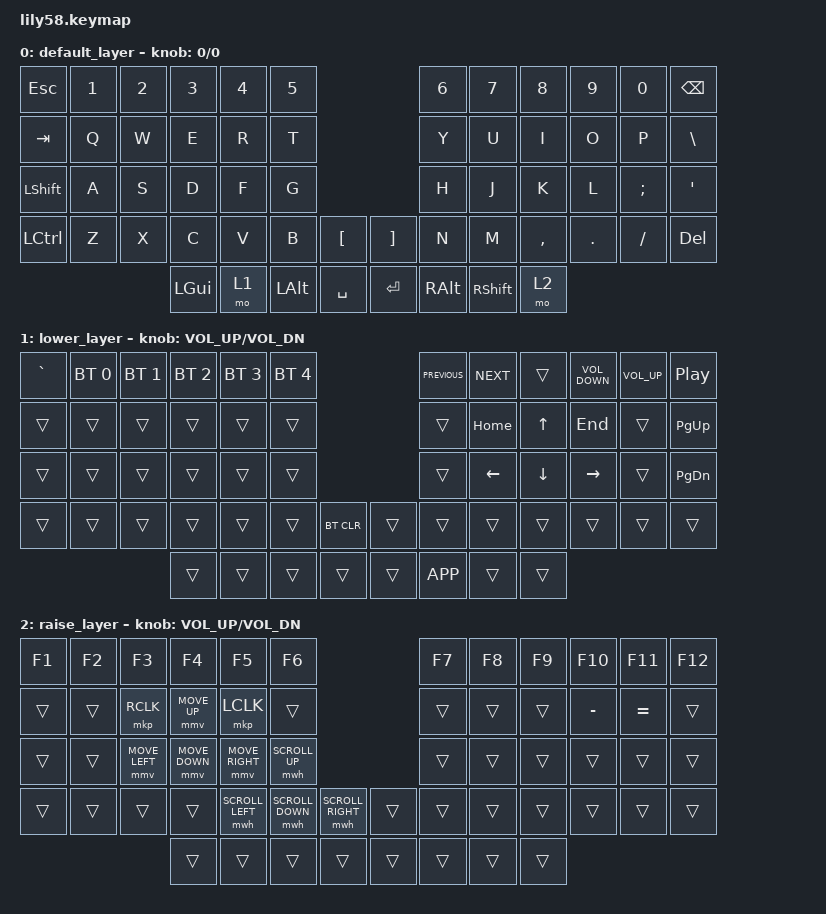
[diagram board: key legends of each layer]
/*
 * Copyright (c) 2020 The ZMK Contributors
 *
 * SPDX-License-Identifier: MIT
 */

#include <behaviors.dtsi>
#include <dt-bindings/zmk/bt.h>
#include <dt-bindings/zmk/keys.h>
#include <dt-bindings/zmk/mouse.h>

&mmv {
    time-to-max-speed-ms = <200>;
    acceleration-exponent = <2>;
};

&mwh {
    acceleration-exponent = <2>;
    time-to-max-speed-ms = <0>;
};

/ {
    keymap {
        compatible = "zmk,keymap";

        default_layer {
            // ------------------------------------------------------------------------------------------------------------
            // |  ESC  |  1  |  2  |  3   |  4   |  5   |                   |  6   |  7    |  8    |  9   |   0   |  BSPC |
            // |  TAB  |  Q  |  W  |  E   |  R   |  T   |                   |  Y   |  U    |  I    |  O   |   P   |   -   |
            // |  CTRL |  A  |  S  |  D   |  F   |  G   |                   |  H   |  J    |  K    |  L   |   ;   |   '   |
            // | SHIFT |  Z  |  X  |  C   |  V   |  B   |   "["  |  |  "]"  |  N   |  M    |  ,    |  .   |   /   |  DEL  |
            //                     | ALT  | LOWER| GUI  |  SPACE |  | ENTER | RALT| SHIFT  | RAISE |

            bindings = <
&kp ESC    &kp N1  &kp N2  &kp N3    &kp N4  &kp N5                           &kp N6    &kp N7     &kp N8     &kp N9   &kp N0    &kp BSPC
&kp TAB    &kp Q   &kp W   &kp E     &kp R   &kp T                            &kp Y     &kp U      &kp I      &kp O    &kp P     &kp BSLH
&kp LSHFT  &kp A   &kp S   &kp D     &kp F   &kp G                            &kp H     &kp J      &kp K      &kp L    &kp SEMI  &kp SQT
&kp LCTRL  &kp Z   &kp X   &kp C     &kp V   &kp B     &kp LBKT     &kp RBKT  &kp N     &kp M      &kp COMMA  &kp DOT  &kp FSLH  &kp DEL
                           &kp LGUI  &mo 1   &kp LALT  &kp SPACE    &kp RET   &kp RALT  &kp RSHFT  &mo 2
            >;

            sensor-bindings = <&inc_dec_kp 0 0>;
        };

        lower_layer {
            // ------------------------------------------------------------------------------------------------------------
            // | GRAVE | BT0 | BT1 |  BT2 |  BT3 |  BT4 |                   |   ⏮️️ |   ⏭️  |       |  🔉   |  🔊   |     ⏯️		|
            // |       |     |     |      |      |      |                   |      | HOME  |  UP   | END  |       |  PAGE_UP	|
            // |       |     |     |      |      |      |                   |      | LEFT  | DOWN  | RIGHT|       |  PAGE_DOWN	|
            // |       |     |     |      |      |      | BT_CLR |  |		|      |       |       |      |       |             |
            //                     |      |      |      |        |  |       |      |  APP  |       |

            bindings = <
&kp GRAVE  &bt BT_SEL 0  &bt BT_SEL 1  &bt BT_SEL 2  &bt BT_SEL 3  &bt BT_SEL 4                        &kp C_PREVIOUS  &kp C_NEXT  &trans    &kp C_VOLUME_DOWN  &kp C_VOLUME_UP  &kp C_PLAY_PAUSE
&trans     &trans        &trans        &trans        &trans        &trans                              &trans          &kp HOME    &kp UP    &kp END            &trans           &kp PAGE_UP
&trans     &trans        &trans        &trans        &trans        &trans                              &trans          &kp LEFT    &kp DOWN  &kp RIGHT          &trans           &kp PAGE_DOWN
&trans     &trans        &trans        &trans        &trans        &trans        &bt BT_CLR    &trans  &trans          &trans      &trans    &trans             &trans           &trans
                                       &trans        &trans        &trans        &trans        &trans  &kp K_APP       &trans      &trans
            >;

            sensor-bindings = <&inc_dec_kp C_VOL_UP C_VOL_DN>;
        };

        raise_layer {
            // ------------------------------------------------------------------------------------------------------------
            // |  F1   |  F2 |  	F3			|  		F4			|  		F5 				|  		F6  			|                   				|  F7  	|  F8   |  F9   |  F10 |  F11  |  F12  	|
            // |       |     |  &mkp RCLK 		| &mmv MOVE_UP 		|     &mkp LCLK  		|      					|									|		|       |   -  	|   =  |       |		|
            // |       |   	 | &mmv MOVE_LEFT   | &mmv MOVE_DOWN	|  &mmv MOVE_RIGHT		| 	&mwh SCROLL_UP      |               				    |      	|       |       |      |       |	   	|
            // |       |     |     				|      				|  &mwh SCROLL_LEFT		|   &mwh SCROLL_DOWN	|  &mwh SCROLL_RIGHT	|  |       	|      	|       |       |      |       |       	|
            //                     				|      				|      					|      					|        				|  |       	|      	|       |       |

            bindings = <
&kp F1  &kp F2  &kp F3          &kp F4          &kp F5            &kp F6                                         &kp F7  &kp F8  &kp F9  &kp F10    &kp F11    &kp F12
&trans  &trans  &mkp RCLK       &mmv MOVE_UP    &mkp LCLK         &trans                                         &trans  &trans  &trans  &kp MINUS  &kp EQUAL  &trans
&trans  &trans  &mmv MOVE_LEFT  &mmv MOVE_DOWN  &mmv MOVE_RIGHT   &mwh SCROLL_UP                                 &trans  &trans  &trans  &trans     &trans     &trans
&trans  &trans  &trans          &trans          &mwh SCROLL_LEFT  &mwh SCROLL_DOWN  &mwh SCROLL_RIGHT    &trans  &trans  &trans  &trans  &trans     &trans     &trans
                                &trans          &trans            &trans            &trans               &trans  &trans  &trans  &trans
            >;

            sensor-bindings = <&inc_dec_kp C_VOL_UP C_VOL_DN>;
        };
    };
};
